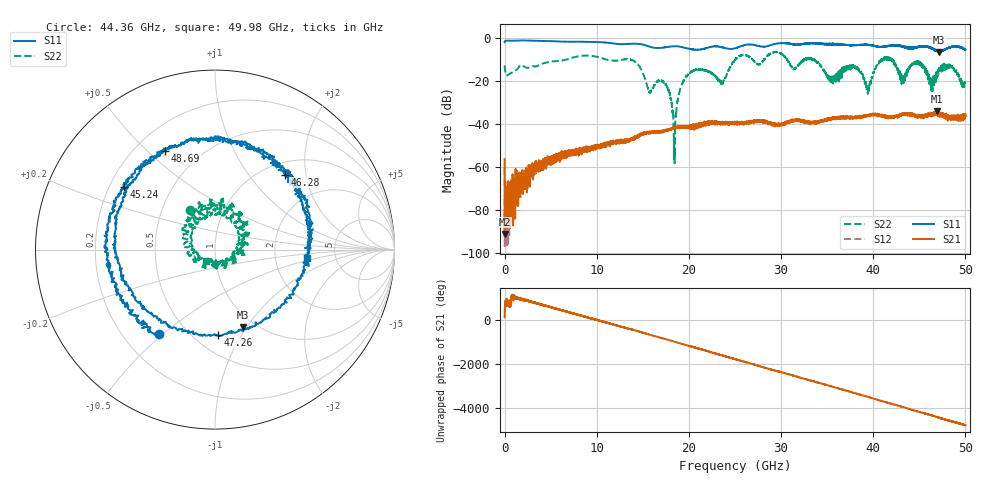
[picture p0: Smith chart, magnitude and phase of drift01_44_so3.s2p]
!Created with skrf (http://scikit-rf.org).
# Hz S RI R 50.0
!freq ReS11 ImS11 ReS21 ImS21 ReS12 ImS12 ReS22 ImS22
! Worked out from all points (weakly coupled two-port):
!   10001 points, 300 kHz to 50 GHz, reference 50 ohm
!   highest |S21| = -34.16 dB at 46.88 GHz (marker M1); lowest = -91.0 dB at 20.3 MHz (marker M2)
!   lowest |S11| = -6.8 dB at 47.15 GHz (marker M3), VSWR 2.70, Z = 43.8 - j48 ohm
!   |S11| at or under -10 dB: nowhere
!   |S22| runs from -58.3 to -6.6 dB; largest |S21 - S12| = 0.0045
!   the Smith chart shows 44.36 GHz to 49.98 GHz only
!   S11 on the Smith chart (normalised r, x): 44.36 GHz: 0.35, -0.49; 45.24 GHz: 0.26, +0.29; 46.28 GHz: 1.23, +1.52; 47.26 GHz: 0.65, -0.80; 48.69 GHz: 0.32, +0.57; 49.98 GHz: 3.08, -0.40
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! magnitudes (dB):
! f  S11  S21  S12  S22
! 300 kHz  -2.1  -56.3  -60.5  -12.9
! 20.3 MHz  -1.9  -91.0  -77.2  -13.8
! 255.3 MHz  -1.4  -70.6  -80.8  -17.5
! 8.335 GHz  -2.0  -51.9  -52.5  -8.5
! 16.67 GHz  -4.8  -43.5  -43.9  -19.9
! 17.73 GHz  -4.4  -42.5  -42.8  -23.7
! 18.43 GHz  -4.1  -42.1  -42.1  -52.7
! 19.9 GHz  -5.1  -41.4  -41.4  -17.2
! 23.59 GHz  -4.5  -39.8  -39.5  -20.4
! 25 GHz  -5.0  -39.6  -39.9  -10.4
! 33.34 GHz  -2.6  -39.5  -39.1  -9.9
! 39.36 GHz  -3.3  -36.1  -36.2  -23.1
! 41.67 GHz  -3.9  -37.2  -36.8  -10.0
! 44.36 GHz  -5.0  -36.2  -35.8  -11.7
! 45.24 GHz  -4.2  -36.4  -36.7  -12.1
! 46.28 GHz  -4.9  -35.9  -35.4  -23.3
! 46.88 GHz  -6.1  -34.2  -35.5  -17.2
! 47.15 GHz  -6.8  -35.5  -35.6  -15.3
! 47.26 GHz  -6.4  -35.5  -35.7  -16.2
! 48.69 GHz  -4.2  -37.8  -37.2  -13.9
! 49.98 GHz  -5.7  -36.0  -36.5  -21.7
! 50 GHz  -5.6  -36.4  -35.7  -21.6
